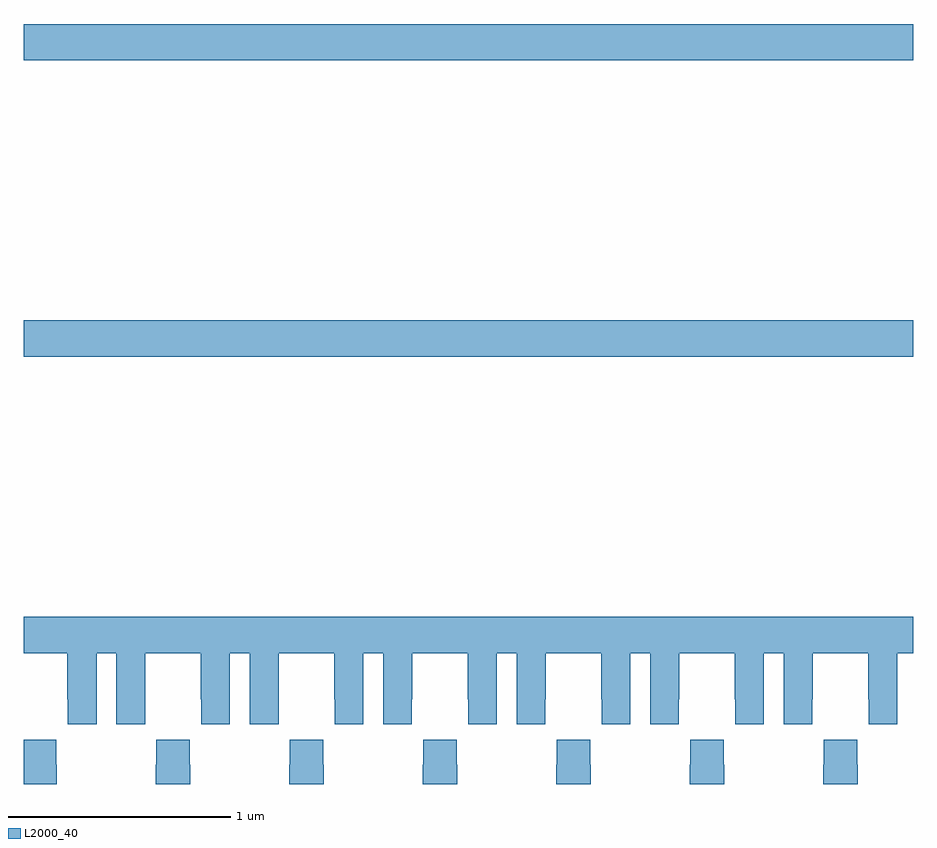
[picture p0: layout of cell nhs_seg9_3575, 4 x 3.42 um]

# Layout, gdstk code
import gdstk
lib = gdstk.Library(unit=1e-6, precision=1e-09)
def R(c, l, rs):  # rectangles x0, y0, x1, y1
    for r in rs: c.add(gdstk.rectangle(r[:2], r[2:], *l))
def P(c, l, *ps):  # polygons
    for p in ps: c.add(gdstk.Polygon(p, *l))
L2000_40 = (2000, 40)

nhs_seg9_3575 = lib.new_cell('nhs_seg9_3575')
R(nhs_seg9_3575, L2000_40, [(315,1196.42,319,1196.584), (315,1197.752,319,1197.916)])
P(nhs_seg9_3575, L2000_40, [(315.328,1195.088),(315.416,1195.088),(315.416,1194.768),(315.546,1194.768),(315.546,1194.88),(315.547,1194.88),(315.547,1195.088),(315.797,1195.088),(315.797,1194.88),(315.798,1194.88),(315.798,1194.768),(315.928,1194.768),(315.928,1195.088),(316.016,1195.088),(316.016,1194.768),(316.146,1194.768),(316.146,1194.88),(316.147,1194.88),(316.147,1195.088),(316.397,1195.088),(316.397,1194.88),(316.398,1194.88),(316.398,1194.768),(316.528,1194.768),(316.528,1195.088),(316.616,1195.088),(316.616,1194.768),(316.746,1194.768),(316.746,1194.88),(316.747,1194.88),(316.747,1195.088),(316.997,1195.088),(316.997,1194.88),(316.998,1194.88),(316.998,1194.768),(317.128,1194.768),(317.128,1195.088),(317.216,1195.088),(317.216,1194.768),(317.346,1194.768),(317.346,1194.88),(317.347,1194.88),(317.347,1195.088),(317.597,1195.088),(317.597,1194.88),(317.598,1194.88),(317.598,1194.768),(317.728,1194.768),(317.728,1195.088),(317.816,1195.088),(317.816,1194.768),(317.946,1194.768),(317.946,1194.88),(317.947,1194.88),(317.947,1195.088),(318.197,1195.088),(318.197,1194.88),(318.198,1194.88),(318.198,1194.768),(318.328,1194.768),(318.328,1195.088),(318.416,1195.088),(318.416,1194.768),(318.546,1194.768),(318.546,1194.88),(318.547,1194.88),(318.547,1195.088),(318.797,1195.088),(318.797,1194.88),(318.798,1194.88),(318.798,1194.768),(318.928,1194.768),(318.928,1195.088),(319,1195.088),(319,1195.252),(315,1195.252),(315,1195.088),(315.197,1195.088),(315.197,1194.88),(315.198,1194.88),(315.198,1194.768),(315.328,1194.768)],
  [(315.15,1194.587),(315.147,1194.587),(315.147,1194.7),(315,1194.7),(315,1194.5),(315.15,1194.5)],
  [(318.15,1194.587),(318.147,1194.587),(318.147,1194.7),(317.997,1194.7),(317.997,1194.587),(317.995,1194.587),(317.995,1194.5),(318.15,1194.5)],
  [(317.55,1194.587),(317.547,1194.587),(317.547,1194.7),(317.397,1194.7),(317.397,1194.587),(317.395,1194.587),(317.395,1194.5),(317.55,1194.5)],
  [(316.35,1194.587),(316.347,1194.587),(316.347,1194.7),(316.197,1194.7),(316.197,1194.587),(316.195,1194.587),(316.195,1194.5),(316.35,1194.5)],
  [(315.75,1194.587),(315.747,1194.587),(315.747,1194.7),(315.597,1194.7),(315.597,1194.587),(315.595,1194.587),(315.595,1194.5),(315.75,1194.5)],
  [(316.95,1194.587),(316.947,1194.587),(316.947,1194.7),(316.797,1194.7),(316.797,1194.587),(316.795,1194.587),(316.795,1194.5),(316.95,1194.5)],
  [(318.75,1194.587),(318.747,1194.587),(318.747,1194.7),(318.597,1194.7),(318.597,1194.587),(318.595,1194.587),(318.595,1194.5),(318.75,1194.5)])

lib.write_gds('nhs_seg9_3575.gds')
